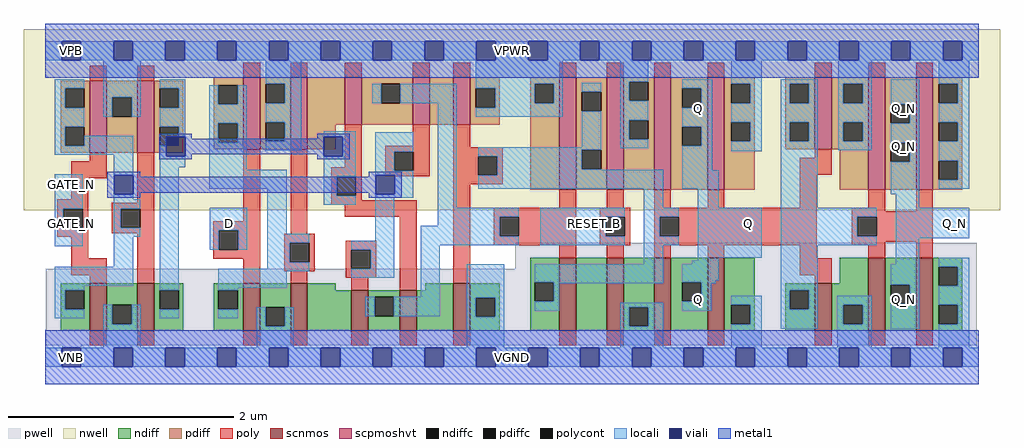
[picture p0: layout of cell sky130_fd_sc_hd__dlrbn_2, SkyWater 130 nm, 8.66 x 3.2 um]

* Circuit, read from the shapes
.subckt sky130_fd_sc_hd__dlrbn_2 D GATE_N RESET_B VGND VNB VPB VPWR Q Q_N
XM1 VGND GATE_N n1 VNB sky130_fd_pr__nfet_01v8 w=0.42 l=0.15
XM2 n2 n1 VGND VNB sky130_fd_pr__nfet_01v8 w=0.42 l=0.15
XM3 VGND D n3 VNB sky130_fd_pr__nfet_01v8 w=0.42 l=0.15
XM4 n4 n3 VGND VNB sky130_fd_pr__nfet_01v8 w=0.42 l=0.15
XM5 n5 n1 n4 VNB sky130_fd_pr__nfet_01v8 w=0.36 l=0.15
XM6 n6 n2 n5 VNB sky130_fd_pr__nfet_01v8 w=0.36 l=0.15
XM7 VGND n7 n6 VNB sky130_fd_pr__nfet_01v8 w=0.42 l=0.15
XM8 n8 n5 n7 VNB sky130_fd_pr__nfet_01v8 w=0.65 l=0.15
XM9 VGND RESET_B n8 VNB sky130_fd_pr__nfet_01v8 w=0.65 l=0.15
XM10 Q n7 VGND VNB sky130_fd_pr__nfet_01v8 w=0.65 l=0.15 m=2
XM11 VGND n7 n9 VNB sky130_fd_pr__nfet_01v8 w=0.42 l=0.15
XM12 Q_N n9 VGND VNB sky130_fd_pr__nfet_01v8 w=0.65 l=0.15 m=2
XM13 VPWR GATE_N n1 VPB sky130_fd_pr__pfet_01v8_hvt w=0.64 l=0.15
XM14 n2 n1 VPWR VPB sky130_fd_pr__pfet_01v8_hvt w=0.64 l=0.15
XM15 VPWR D n3 VPB sky130_fd_pr__pfet_01v8_hvt w=0.64 l=0.15
XM16 n10 n3 VPWR VPB sky130_fd_pr__pfet_01v8_hvt w=0.64 l=0.15
XM17 n5 n2 n10 VPB sky130_fd_pr__pfet_01v8_hvt w=0.42 l=0.15
XM18 n11 n1 n5 VPB sky130_fd_pr__pfet_01v8_hvt w=0.42 l=0.15
XM19 VPWR n7 n11 VPB sky130_fd_pr__pfet_01v8_hvt w=0.42 l=0.15
XM20 n7 n5 VPWR VPB sky130_fd_pr__pfet_01v8_hvt w=1 l=0.15
XM21 VPWR RESET_B n7 VPB sky130_fd_pr__pfet_01v8_hvt w=1 l=0.15
XM22 Q n7 VPWR VPB sky130_fd_pr__pfet_01v8_hvt w=1 l=0.15 m=2
XM23 VPWR n7 n9 VPB sky130_fd_pr__pfet_01v8_hvt w=0.64 l=0.15
XM24 Q_N n9 VPWR VPB sky130_fd_pr__pfet_01v8_hvt w=1 l=0.15 m=2
.ends

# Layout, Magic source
magic
tech sky130A
magscale 1 2
<< nwell >>
rect -38 261 1694 582
<< pwell >>
rect 834 157 1653 203
rect 1 21 1653 157
rect 30 -17 64 21
<< scnmos >>
rect 79 47 109 131
rect 163 47 193 131
rect 351 47 381 131
rect 435 47 465 131
rect 543 47 573 119
rect 629 47 659 119
rect 724 47 754 131
rect 912 47 942 177
rect 996 47 1026 177
rect 1080 47 1110 177
rect 1175 47 1205 177
rect 1365 47 1395 131
rect 1460 47 1490 177
rect 1545 47 1575 177
<< scpmoshvt >>
rect 79 363 109 491
rect 163 363 193 491
rect 351 369 381 497
rect 435 369 465 497
rect 531 413 561 497
rect 652 413 682 497
rect 724 413 754 497
rect 912 297 942 497
rect 996 297 1026 497
rect 1080 297 1110 497
rect 1175 297 1205 497
rect 1365 369 1395 497
rect 1460 297 1490 497
rect 1545 297 1575 497
<< ndiff >>
rect 27 119 79 131
rect 27 85 35 119
rect 69 85 79 119
rect 27 47 79 85
rect 109 93 163 131
rect 109 59 119 93
rect 153 59 163 93
rect 109 47 163 59
rect 193 119 245 131
rect 193 85 203 119
rect 237 85 245 119
rect 193 47 245 85
rect 299 119 351 131
rect 299 85 307 119
rect 341 85 351 119
rect 299 47 351 85
rect 381 89 435 131
rect 381 55 391 89
rect 425 55 435 89
rect 381 47 435 55
rect 465 119 515 131
rect 860 133 912 177
rect 674 119 724 131
rect 465 47 543 119
rect 573 107 629 119
rect 573 73 584 107
rect 618 73 629 107
rect 573 47 629 73
rect 659 47 724 119
rect 754 106 806 131
rect 754 72 764 106
rect 798 72 806 106
rect 754 47 806 72
rect 860 99 868 133
rect 902 99 912 133
rect 860 47 912 99
rect 942 47 996 177
rect 1026 89 1080 177
rect 1026 55 1036 89
rect 1070 55 1080 89
rect 1026 47 1080 55
rect 1110 133 1175 177
rect 1110 99 1130 133
rect 1164 99 1175 133
rect 1110 47 1175 99
rect 1205 93 1259 177
rect 1410 131 1460 177
rect 1205 59 1217 93
rect 1251 59 1259 93
rect 1205 47 1259 59
rect 1313 119 1365 131
rect 1313 85 1321 119
rect 1355 85 1365 119
rect 1313 47 1365 85
rect 1395 93 1460 131
rect 1395 59 1416 93
rect 1450 59 1460 93
rect 1395 47 1460 59
rect 1490 129 1545 177
rect 1490 95 1500 129
rect 1534 95 1545 129
rect 1490 47 1545 95
rect 1575 161 1627 177
rect 1575 127 1585 161
rect 1619 127 1627 161
rect 1575 93 1627 127
rect 1575 59 1585 93
rect 1619 59 1627 93
rect 1575 47 1627 59
<< pdiff >>
rect 27 477 79 491
rect 27 443 35 477
rect 69 443 79 477
rect 27 409 79 443
rect 27 375 35 409
rect 69 375 79 409
rect 27 363 79 375
rect 109 461 163 491
rect 109 427 119 461
rect 153 427 163 461
rect 109 363 163 427
rect 193 477 245 491
rect 193 443 203 477
rect 237 443 245 477
rect 193 409 245 443
rect 193 375 203 409
rect 237 375 245 409
rect 193 363 245 375
rect 299 483 351 497
rect 299 449 307 483
rect 341 449 351 483
rect 299 415 351 449
rect 299 381 307 415
rect 341 381 351 415
rect 299 369 351 381
rect 381 485 435 497
rect 381 451 391 485
rect 425 451 435 485
rect 381 417 435 451
rect 381 383 391 417
rect 425 383 435 417
rect 381 369 435 383
rect 465 413 531 497
rect 561 485 652 497
rect 561 451 596 485
rect 630 451 652 485
rect 561 413 652 451
rect 682 413 724 497
rect 754 477 806 497
rect 754 443 764 477
rect 798 443 806 477
rect 754 413 806 443
rect 860 485 912 497
rect 860 451 868 485
rect 902 451 912 485
rect 465 369 515 413
rect 860 297 912 451
rect 942 471 996 497
rect 942 437 952 471
rect 986 437 996 471
rect 942 368 996 437
rect 942 334 952 368
rect 986 334 996 368
rect 942 297 996 334
rect 1026 489 1080 497
rect 1026 455 1036 489
rect 1070 455 1080 489
rect 1026 421 1080 455
rect 1026 387 1036 421
rect 1070 387 1080 421
rect 1026 297 1080 387
rect 1110 477 1175 497
rect 1110 443 1130 477
rect 1164 443 1175 477
rect 1110 409 1175 443
rect 1110 375 1130 409
rect 1164 375 1175 409
rect 1110 297 1175 375
rect 1205 485 1259 497
rect 1205 451 1217 485
rect 1251 451 1259 485
rect 1205 417 1259 451
rect 1205 383 1217 417
rect 1251 383 1259 417
rect 1205 297 1259 383
rect 1313 485 1365 497
rect 1313 451 1321 485
rect 1355 451 1365 485
rect 1313 417 1365 451
rect 1313 383 1321 417
rect 1355 383 1365 417
rect 1313 369 1365 383
rect 1395 485 1460 497
rect 1395 451 1416 485
rect 1450 451 1460 485
rect 1395 417 1460 451
rect 1395 383 1416 417
rect 1450 383 1460 417
rect 1395 369 1460 383
rect 1410 297 1460 369
rect 1490 449 1545 497
rect 1490 415 1500 449
rect 1534 415 1545 449
rect 1490 381 1545 415
rect 1490 347 1500 381
rect 1534 347 1545 381
rect 1490 297 1545 347
rect 1575 485 1627 497
rect 1575 451 1585 485
rect 1619 451 1627 485
rect 1575 417 1627 451
rect 1575 383 1585 417
rect 1619 383 1627 417
rect 1575 349 1627 383
rect 1575 315 1585 349
rect 1619 315 1627 349
rect 1575 297 1627 315
<< ndiffc >>
rect 35 85 69 119
rect 119 59 153 93
rect 203 85 237 119
rect 307 85 341 119
rect 391 55 425 89
rect 584 73 618 107
rect 764 72 798 106
rect 868 99 902 133
rect 1036 55 1070 89
rect 1130 99 1164 133
rect 1217 59 1251 93
rect 1321 85 1355 119
rect 1416 59 1450 93
rect 1500 95 1534 129
rect 1585 127 1619 161
rect 1585 59 1619 93
<< pdiffc >>
rect 35 443 69 477
rect 35 375 69 409
rect 119 427 153 461
rect 203 443 237 477
rect 203 375 237 409
rect 307 449 341 483
rect 307 381 341 415
rect 391 451 425 485
rect 391 383 425 417
rect 596 451 630 485
rect 764 443 798 477
rect 868 451 902 485
rect 952 437 986 471
rect 952 334 986 368
rect 1036 455 1070 489
rect 1036 387 1070 421
rect 1130 443 1164 477
rect 1130 375 1164 409
rect 1217 451 1251 485
rect 1217 383 1251 417
rect 1321 451 1355 485
rect 1321 383 1355 417
rect 1416 451 1450 485
rect 1416 383 1450 417
rect 1500 415 1534 449
rect 1500 347 1534 381
rect 1585 451 1619 485
rect 1585 383 1619 417
rect 1585 315 1619 349
<< poly >>
rect 79 491 109 517
rect 163 491 193 517
rect 351 497 381 523
rect 435 497 465 523
rect 531 497 561 523
rect 652 497 682 523
rect 724 497 754 523
rect 912 497 942 523
rect 996 497 1026 523
rect 1080 497 1110 523
rect 1175 497 1205 523
rect 1365 497 1395 523
rect 1460 497 1490 523
rect 1545 497 1575 523
rect 79 348 109 363
rect 46 318 109 348
rect 46 280 76 318
rect 21 264 76 280
rect 163 274 193 363
rect 21 230 32 264
rect 66 230 76 264
rect 21 214 76 230
rect 118 264 193 274
rect 118 230 134 264
rect 168 230 193 264
rect 351 241 381 369
rect 118 220 193 230
rect 46 176 76 214
rect 46 146 109 176
rect 79 131 109 146
rect 163 131 193 220
rect 298 225 381 241
rect 298 191 308 225
rect 342 191 381 225
rect 435 219 465 369
rect 531 337 561 413
rect 652 375 682 413
rect 507 321 561 337
rect 603 365 682 375
rect 603 331 619 365
rect 653 331 682 365
rect 603 321 682 331
rect 724 373 754 413
rect 724 357 812 373
rect 724 323 768 357
rect 802 323 812 357
rect 507 287 517 321
rect 551 287 561 321
rect 507 279 561 287
rect 724 307 812 323
rect 507 271 659 279
rect 531 249 659 271
rect 298 175 381 191
rect 351 131 381 175
rect 424 203 478 219
rect 424 169 434 203
rect 468 169 478 203
rect 424 153 478 169
rect 533 191 587 207
rect 533 157 543 191
rect 577 157 587 191
rect 435 131 465 153
rect 533 141 587 157
rect 543 119 573 141
rect 629 119 659 249
rect 724 131 754 307
rect 1365 354 1395 369
rect 1339 324 1395 354
rect 912 265 942 297
rect 996 265 1026 297
rect 1080 265 1110 297
rect 1175 265 1205 297
rect 1339 265 1369 324
rect 1460 265 1490 297
rect 796 249 942 265
rect 796 215 806 249
rect 840 215 942 249
rect 796 199 942 215
rect 984 249 1038 265
rect 984 215 994 249
rect 1028 215 1038 249
rect 984 199 1038 215
rect 1080 249 1369 265
rect 1080 215 1090 249
rect 1124 215 1369 249
rect 1080 199 1369 215
rect 1431 259 1490 265
rect 1545 259 1575 297
rect 1431 249 1575 259
rect 1431 215 1441 249
rect 1475 215 1575 249
rect 1431 205 1575 215
rect 1431 199 1490 205
rect 912 177 942 199
rect 996 177 1026 199
rect 1080 177 1110 199
rect 1175 177 1205 199
rect 1339 176 1369 199
rect 1460 177 1490 199
rect 1545 177 1575 205
rect 1339 146 1395 176
rect 1365 131 1395 146
rect 79 21 109 47
rect 163 21 193 47
rect 351 21 381 47
rect 435 21 465 47
rect 543 21 573 47
rect 629 21 659 47
rect 724 21 754 47
rect 912 21 942 47
rect 996 21 1026 47
rect 1080 21 1110 47
rect 1175 21 1205 47
rect 1365 21 1395 47
rect 1460 21 1490 47
rect 1545 21 1575 47
<< polycont >>
rect 32 230 66 264
rect 134 230 168 264
rect 308 191 342 225
rect 619 331 653 365
rect 768 323 802 357
rect 517 287 551 321
rect 434 169 468 203
rect 543 157 577 191
rect 806 215 840 249
rect 994 215 1028 249
rect 1090 215 1124 249
rect 1441 215 1475 249
<< locali >>
rect 0 527 29 561
rect 63 527 121 561
rect 155 527 213 561
rect 247 527 305 561
rect 339 527 397 561
rect 431 527 489 561
rect 523 527 581 561
rect 615 527 673 561
rect 707 527 765 561
rect 799 527 857 561
rect 891 527 949 561
rect 983 527 1041 561
rect 1075 527 1133 561
rect 1167 527 1225 561
rect 1259 527 1317 561
rect 1351 527 1409 561
rect 1443 527 1501 561
rect 1535 527 1593 561
rect 1627 527 1656 561
rect 17 477 69 493
rect 17 443 35 477
rect 17 409 69 443
rect 103 461 169 527
rect 103 427 119 461
rect 153 427 169 461
rect 203 477 248 493
rect 391 485 454 527
rect 764 485 918 527
rect 1020 489 1070 527
rect 237 443 248 477
rect 17 375 35 409
rect 203 409 248 443
rect 69 375 156 393
rect 17 359 156 375
rect 17 264 66 325
rect 17 230 32 264
rect 17 197 66 230
rect 121 323 156 359
rect 121 289 122 323
rect 121 280 156 289
rect 237 391 248 409
rect 203 357 214 375
rect 203 337 248 357
rect 291 449 307 483
rect 341 449 357 483
rect 291 415 357 449
rect 291 381 307 415
rect 341 381 357 415
rect 121 264 168 280
rect 121 230 134 264
rect 121 214 168 230
rect 121 161 156 214
rect 17 127 156 161
rect 17 119 69 127
rect 17 85 35 119
rect 203 119 237 337
rect 291 333 357 381
rect 425 451 454 485
rect 580 451 596 485
rect 630 451 730 485
rect 391 417 454 451
rect 425 383 454 417
rect 391 367 454 383
rect 494 391 551 401
rect 528 357 551 391
rect 291 299 428 333
rect 292 225 358 265
rect 292 191 308 225
rect 342 191 358 225
rect 394 219 428 299
rect 494 321 551 357
rect 494 287 517 321
rect 494 271 551 287
rect 585 365 653 399
rect 585 331 619 365
rect 585 323 653 331
rect 585 289 586 323
rect 620 289 653 323
rect 585 283 653 289
rect 394 203 468 219
rect 585 207 619 283
rect 696 265 730 451
rect 764 477 868 485
rect 798 451 868 477
rect 902 451 918 485
rect 798 443 918 451
rect 764 427 918 443
rect 952 471 986 487
rect 952 373 986 437
rect 768 368 986 373
rect 1020 455 1036 489
rect 1020 421 1070 455
rect 1020 387 1036 421
rect 1020 371 1070 387
rect 1130 477 1183 493
rect 1164 443 1183 477
rect 1130 409 1183 443
rect 1164 375 1183 409
rect 768 357 952 368
rect 802 334 952 357
rect 802 333 986 334
rect 802 323 1096 333
rect 768 299 1096 323
rect 1130 332 1183 375
rect 1217 485 1271 527
rect 1251 451 1271 485
rect 1217 417 1271 451
rect 1251 383 1271 417
rect 1217 366 1271 383
rect 1305 485 1371 493
rect 1305 451 1321 485
rect 1355 451 1371 485
rect 1305 417 1371 451
rect 1305 383 1321 417
rect 1355 383 1371 417
rect 1130 299 1195 332
rect 1062 265 1096 299
rect 1158 265 1195 299
rect 1305 265 1371 383
rect 1407 485 1466 527
rect 1407 451 1416 485
rect 1450 451 1466 485
rect 1407 417 1466 451
rect 1407 383 1416 417
rect 1450 383 1466 417
rect 1407 367 1466 383
rect 1500 449 1551 493
rect 1534 415 1551 449
rect 1500 381 1551 415
rect 1534 347 1551 381
rect 1500 289 1551 347
rect 1585 485 1639 527
rect 1619 451 1639 485
rect 1585 417 1639 451
rect 1619 383 1639 417
rect 1585 349 1639 383
rect 1619 315 1639 349
rect 1585 299 1639 315
rect 1509 265 1551 289
rect 696 249 840 265
rect 696 233 806 249
rect 394 169 434 203
rect 394 157 468 169
rect 17 69 69 85
rect 103 59 119 93
rect 153 59 169 93
rect 203 69 237 85
rect 307 153 468 157
rect 543 191 619 207
rect 577 157 619 191
rect 307 123 428 153
rect 543 141 619 157
rect 666 215 806 233
rect 666 199 840 215
rect 878 249 1028 265
rect 878 215 994 249
rect 878 199 1028 215
rect 1062 249 1124 265
rect 1062 215 1090 249
rect 1062 199 1124 215
rect 307 119 341 123
rect 666 107 700 199
rect 1062 165 1096 199
rect 1158 177 1271 265
rect 1305 249 1475 265
rect 1305 215 1441 249
rect 1305 199 1475 215
rect 1509 211 1639 265
rect 1158 172 1195 177
rect 1148 165 1195 172
rect 307 69 341 85
rect 103 17 169 59
rect 375 55 391 89
rect 425 55 441 89
rect 568 73 584 107
rect 618 73 700 107
rect 748 106 814 165
rect 375 17 441 55
rect 748 72 764 106
rect 798 72 814 106
rect 868 133 1096 165
rect 902 131 1096 133
rect 1130 137 1195 165
rect 1130 133 1190 137
rect 902 99 912 131
rect 868 83 912 99
rect 1164 131 1190 133
rect 1164 99 1182 131
rect 1305 119 1371 199
rect 1509 165 1551 211
rect 1020 89 1096 97
rect 748 17 814 72
rect 1020 55 1036 89
rect 1070 55 1096 89
rect 1130 83 1182 99
rect 1217 93 1271 109
rect 1020 17 1096 55
rect 1251 59 1271 93
rect 1217 17 1271 59
rect 1305 85 1321 119
rect 1355 85 1371 119
rect 1500 129 1551 165
rect 1305 51 1371 85
rect 1405 93 1466 109
rect 1405 59 1416 93
rect 1450 59 1466 93
rect 1405 17 1466 59
rect 1534 95 1551 129
rect 1500 51 1551 95
rect 1585 161 1639 177
rect 1619 127 1639 161
rect 1585 93 1639 127
rect 1619 59 1639 93
rect 1585 17 1639 59
rect 0 -17 29 17
rect 63 -17 121 17
rect 155 -17 213 17
rect 247 -17 305 17
rect 339 -17 397 17
rect 431 -17 489 17
rect 523 -17 581 17
rect 615 -17 673 17
rect 707 -17 765 17
rect 799 -17 857 17
rect 891 -17 949 17
rect 983 -17 1041 17
rect 1075 -17 1133 17
rect 1167 -17 1225 17
rect 1259 -17 1317 17
rect 1351 -17 1409 17
rect 1443 -17 1501 17
rect 1535 -17 1593 17
rect 1627 -17 1656 17
<< viali >>
rect 29 527 63 561
rect 121 527 155 561
rect 213 527 247 561
rect 305 527 339 561
rect 397 527 431 561
rect 489 527 523 561
rect 581 527 615 561
rect 673 527 707 561
rect 765 527 799 561
rect 857 527 891 561
rect 949 527 983 561
rect 1041 527 1075 561
rect 1133 527 1167 561
rect 1225 527 1259 561
rect 1317 527 1351 561
rect 1409 527 1443 561
rect 1501 527 1535 561
rect 1593 527 1627 561
rect 122 289 156 323
rect 214 375 237 391
rect 237 375 248 391
rect 214 357 248 375
rect 494 357 528 391
rect 586 289 620 323
rect 29 -17 63 17
rect 121 -17 155 17
rect 213 -17 247 17
rect 305 -17 339 17
rect 397 -17 431 17
rect 489 -17 523 17
rect 581 -17 615 17
rect 673 -17 707 17
rect 765 -17 799 17
rect 857 -17 891 17
rect 949 -17 983 17
rect 1041 -17 1075 17
rect 1133 -17 1167 17
rect 1225 -17 1259 17
rect 1317 -17 1351 17
rect 1409 -17 1443 17
rect 1501 -17 1535 17
rect 1593 -17 1627 17
<< metal1 >>
rect 0 561 1656 592
rect 0 527 29 561
rect 63 527 121 561
rect 155 527 213 561
rect 247 527 305 561
rect 339 527 397 561
rect 431 527 489 561
rect 523 527 581 561
rect 615 527 673 561
rect 707 527 765 561
rect 799 527 857 561
rect 891 527 949 561
rect 983 527 1041 561
rect 1075 527 1133 561
rect 1167 527 1225 561
rect 1259 527 1317 561
rect 1351 527 1409 561
rect 1443 527 1501 561
rect 1535 527 1593 561
rect 1627 527 1656 561
rect 0 496 1656 527
rect 202 391 260 397
rect 202 357 214 391
rect 248 388 260 391
rect 482 391 540 397
rect 482 388 494 391
rect 248 360 494 388
rect 248 357 260 360
rect 202 351 260 357
rect 482 357 494 360
rect 528 357 540 391
rect 482 351 540 357
rect 110 323 168 329
rect 110 289 122 323
rect 156 320 168 323
rect 574 323 632 329
rect 574 320 586 323
rect 156 292 586 320
rect 156 289 168 292
rect 110 283 168 289
rect 574 289 586 292
rect 620 289 632 323
rect 574 283 632 289
rect 0 17 1656 48
rect 0 -17 29 17
rect 63 -17 121 17
rect 155 -17 213 17
rect 247 -17 305 17
rect 339 -17 397 17
rect 431 -17 489 17
rect 523 -17 581 17
rect 615 -17 673 17
rect 707 -17 765 17
rect 799 -17 857 17
rect 891 -17 949 17
rect 983 -17 1041 17
rect 1075 -17 1133 17
rect 1167 -17 1225 17
rect 1259 -17 1317 17
rect 1351 -17 1409 17
rect 1443 -17 1501 17
rect 1535 -17 1593 17
rect 1627 -17 1656 17
rect 0 -48 1656 -17
<< labels >>
flabel locali s 310 221 344 255 0 FreeSans 200 0 0 0 D
port 1 nsew signal input
flabel locali s 30 221 64 255 0 FreeSans 200 0 0 0 GATE_N
port 2 nsew clock input
flabel locali s 30 289 64 323 0 FreeSans 200 0 0 0 GATE_N
port 2 nsew clock input
flabel locali s 1142 425 1176 459 0 FreeSans 200 0 0 0 Q
port 8 nsew signal output
flabel locali s 1142 85 1176 119 0 FreeSans 200 0 0 0 Q
port 8 nsew signal output
flabel locali s 1230 221 1264 255 0 FreeSans 200 0 0 0 Q
port 8 nsew signal output
flabel locali s 958 221 992 255 0 FreeSans 200 0 0 0 RESET_B
port 3 nsew signal input
flabel locali s 1597 221 1631 255 0 FreeSans 400 0 0 0 Q_N
port 9 nsew signal output
flabel locali s 1505 425 1539 459 0 FreeSans 400 0 0 0 Q_N
port 9 nsew signal output
flabel locali s 1505 357 1539 391 0 FreeSans 400 0 0 0 Q_N
port 9 nsew signal output
flabel locali s 1505 85 1539 119 0 FreeSans 400 0 0 0 Q_N
port 9 nsew signal output
flabel pwell s 30 -17 64 17 0 FreeSans 200 0 0 0 VNB
port 5 nsew ground bidirectional
flabel nwell s 30 527 64 561 0 FreeSans 200 0 0 0 VPB
port 6 nsew power bidirectional
flabel metal1 s 30 527 64 561 0 FreeSans 200 0 0 0 VPWR
port 7 nsew power bidirectional abutment
flabel metal1 s 30 -17 64 17 0 FreeSans 200 0 0 0 VGND
port 4 nsew ground bidirectional abutment
rlabel comment s 0 0 0 0 4 dlrbn_2
rlabel metal1 s 0 -48 1656 48 1 VGND
port 4 nsew ground bidirectional abutment
rlabel metal1 s 0 496 1656 592 1 VPWR
port 7 nsew power bidirectional abutment
<< properties >>
string FIXED_BBOX 0 0 1656 544
string GDS_END 2733008
string GDS_FILE $PDKPATH/libs.ref/sky130_fd_sc_hd/gds/sky130_fd_sc_hd.gds
string GDS_START 2719666
string LEFclass CORE
string LEFsite unithd
string LEFsymmetry X Y R90
string path 0.000 13.600 41.400 13.600 
<< end >>
